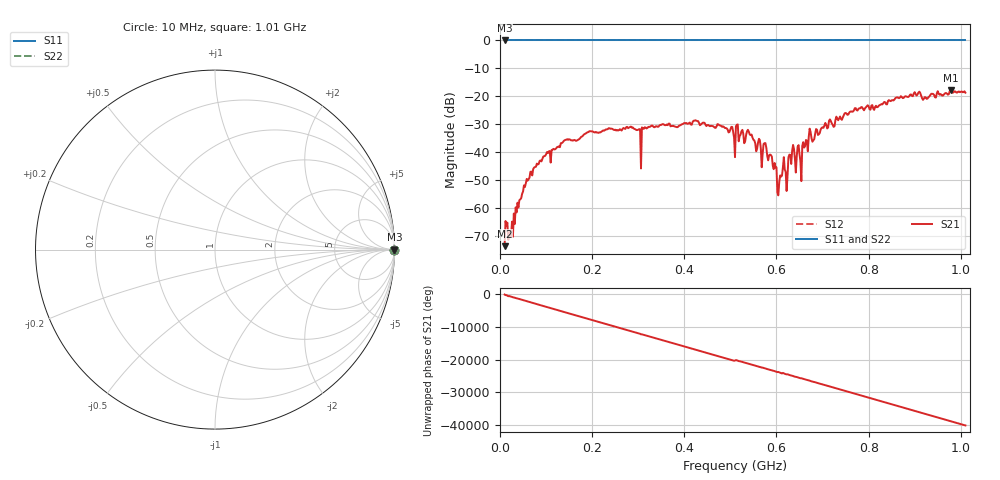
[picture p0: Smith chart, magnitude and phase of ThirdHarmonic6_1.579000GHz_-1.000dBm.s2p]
! 8/16/2025 6:47:37 PM
! C:\ANRITSUVNA\TEMP\TEMP.S2P
! CHANNEL.1
! TR.MEASUREMENT
! RAW.DATA
! RF.CORRECTION.OFF
! AVERAGING.OFF
! IF.BANDWIDTH: 5KHZ
! SWEEPTYPE:  FREQ.SWEEP(Linear)
! Reference Plane Port Info
! PORT:  PORT1  PORT2
! DISTANCE:  0  m  0  m
! TIME:  0  s  0  s
! PHASE.OFFSET:  0  deg.  0  deg.
! LOSS:  0  dB  0  dB
! REF.LOSS:  0  dB  0  dB
! REF.FREQ:  0  Hz  0  Hz
! Power Info
! POWER:  -20  dBm  -20  dBm
! EFF.POWER:  -20  dBm  -20  dBm
! SOURCE.ATTEN:  0  dB  0  dB
! TEST.ATTEN:  0  dB  0  dB
# GHZ S RI R 50.0
! FREQ.GHZ  S11RE  S11IM  S21RE  S21IM  S12RE  S12IM  S22RE  S22IM
!; PortSelection: Port_12
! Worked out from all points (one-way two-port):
!   501 points, 10 MHz to 1.01 GHz, reference 50 ohm
!   highest |S21| = -17.75 dB at 978 MHz (marker M1); lowest = -73.6 dB at 10 MHz (marker M2)
!   lowest |S11| = 0.0 dB at 10 MHz (marker M3)
!   |S11| at or under -10 dB: nowhere
!   |S22| runs from 0.0 to 0.0 dB; largest |S21 - S12| = 1.1
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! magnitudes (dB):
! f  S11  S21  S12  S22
! 10 MHz  0.0  -73.6  0.0  0.0
! 24 MHz  0.0  -70.4  0.0  0.0
! 54 MHz  0.0  -52.4  0.0  0.0
! 76 MHz  0.0  -45.3  0.0  0.0
! 178 MHz  0.0  -34.4  0.0  0.0
! 284 MHz  0.0  -30.8  0.0  0.0
! 302 MHz  0.0  -31.7  0.0  0.0
! 344 MHz  0.0  -30.8  0.0  0.0
! 426 MHz  0.0  -28.7  0.0  0.0
! 510 MHz  0.0  -41.7  0.0  0.0
! 540 MHz  0.0  -32.6  0.0  0.0
! 576 MHz  0.0  -36.7  0.0  0.0
! 606 MHz  0.0  -50.7  0.0  0.0
! 622 MHz  0.0  -53.8  0.0  0.0
! 632 MHz  0.0  -44.2  0.0  0.0
! 654 MHz  0.0  -50.3  0.0  0.0
! 660 MHz  0.0  -38.3  0.0  0.0
! 678 MHz  0.0  -36.2  0.0  0.0
! 768 MHz  0.0  -25.0  0.0  0.0
! 844 MHz  0.0  -21.4  0.0  0.0
! 978 MHz  0.0  -17.7  0.0  0.0
! 1.01 GHz  0.0  -18.7  0.0  0.0
